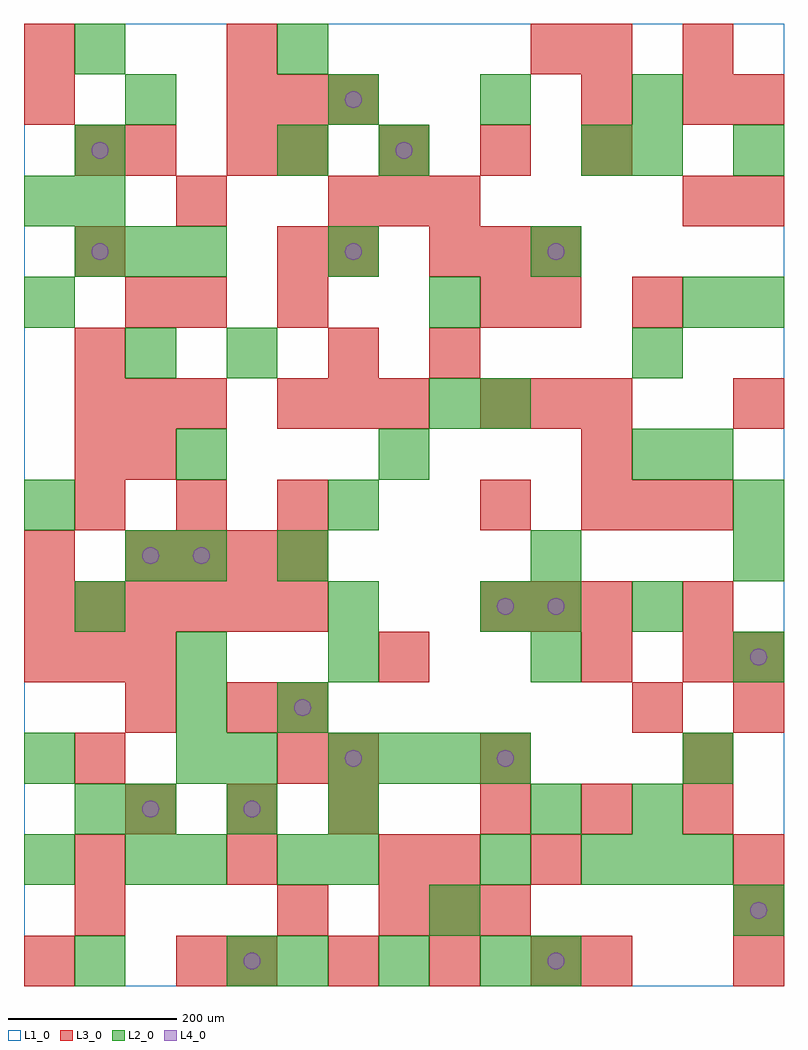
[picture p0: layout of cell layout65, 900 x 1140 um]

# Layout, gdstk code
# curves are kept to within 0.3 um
import gdstk
lib = gdstk.Library(unit=1e-6, precision=1e-09)
def R(c, l, rs):  # rectangles x0, y0, x1, y1
    for r in rs: c.add(gdstk.rectangle(r[:2], r[2:], *l))
def A(c, l, x, y, w, h, nx, ny, dx, dy):  # array of equal rectangles
    R(c, l, [(x+i*dx, y+j*dy, x+i*dx+w, y+j*dy+h) for i in range(nx) for j in range(ny)])
def P(c, l, *ps):  # polygons
    for p in ps: c.add(gdstk.Polygon(p, *l))
L1_0 = (1, 0)
L2_0 = (2, 0)
L3_0 = (3, 0)
L4_0 = (4, 0)

layout65 = lib.new_cell('layout65')
R(layout65, L1_0, [(0,0,900,1140)])
A(layout65, L2_0, 300, 0, 60, 60, 3, 1, 120, 0)
A(layout65, L2_0, 300, 120, 60, 60, 1, 3, 0, 180)
A(layout65, L2_0, 660, 120, 60, 60, 3, 1, 60, 0)
A(layout65, L2_0, 120, 180, 60, 60, 3, 1, 120, 0)
A(layout65, L2_0, 180, 240, 60, 60, 1, 3, 0, 60)
A(layout65, L2_0, 360, 240, 60, 60, 4, 1, 60, 0)
A(layout65, L2_0, 360, 360, 60, 60, 3, 1, 240, 0)
A(layout65, L2_0, 60, 840, 60, 60, 3, 1, 60, 0)
A(layout65, L2_0, 360, 1020, 60, 60, 3, 1, 180, 0)
R(layout65, L2_0, [(60,0,120,60), (240,0,300,60), (600,0,660,60), (480,60,540,120), (840,60,900,120), (0,120,60,180), (120,120,180,180), (180,120,240,180), (360,120,420,180), (540,120,600,180), (60,180,120,240), (600,180,660,240), (720,180,780,240), (0,240,60,300), (240,240,300,300), (780,240,840,300), (60,420,120,480), (360,420,420,480), (540,420,600,480), (600,420,660,480), (720,420,780,480), (120,480,180,540), (180,480,240,540), (600,480,660,540), (840,480,900,540), (0,540,60,600), (360,540,420,600), (840,540,900,600), (180,600,240,660), (420,600,480,660), (720,600,780,660), (780,600,840,660), (480,660,540,720), (540,660,600,720), (120,720,180,780), (240,720,300,780), (720,720,780,780), (0,780,60,840), (480,780,540,840), (780,780,840,840), (840,780,900,840), (360,840,420,900), (600,840,660,900), (0,900,60,960), (60,900,120,960), (60,960,120,1020), (300,960,360,1020), (420,960,480,1020), (660,960,720,1020), (720,960,780,1020), (840,960,900,1020), (120,1020,180,1080), (60,1080,120,1140), (300,1080,360,1140)])
A(layout65, L3_0, 240, 0, 60, 60, 4, 1, 120, 0)
A(layout65, L3_0, 840, 0, 60, 60, 1, 3, 0, 60)
A(layout65, L3_0, 420, 60, 60, 60, 3, 1, 60, 0)
A(layout65, L3_0, 60, 120, 60, 60, 3, 1, 180, 0)
A(layout65, L3_0, 120, 180, 60, 60, 3, 1, 120, 0)
A(layout65, L3_0, 540, 180, 60, 60, 3, 1, 120, 0)
A(layout65, L3_0, 0, 360, 60, 60, 3, 1, 60, 0)
A(layout65, L3_0, 0, 420, 60, 60, 6, 1, 60, 0)
A(layout65, L3_0, 540, 420, 60, 60, 3, 2, 60, 240)
A(layout65, L3_0, 120, 480, 60, 60, 4, 1, 60, 0)
A(layout65, L3_0, 60, 540, 60, 60, 3, 1, 120, 0)
A(layout65, L3_0, 660, 540, 60, 60, 3, 1, 60, 0)
A(layout65, L3_0, 60, 600, 60, 60, 1, 4, 0, 120)
A(layout65, L3_0, 120, 600, 60, 60, 1, 3, 0, 180)
A(layout65, L3_0, 60, 660, 60, 60, 3, 1, 60, 0)
A(layout65, L3_0, 300, 660, 60, 60, 3, 1, 60, 0)
A(layout65, L3_0, 480, 840, 60, 60, 3, 1, 60, 0)
A(layout65, L3_0, 360, 900, 60, 60, 3, 1, 60, 0)
A(layout65, L3_0, 300, 960, 60, 60, 4, 1, 120, 0)
A(layout65, L3_0, 240, 1020, 60, 60, 3, 1, 60, 0)
R(layout65, L3_0, [(0,0,60,60), (180,0,240,60), (660,0,720,60), (60,60,120,120), (300,60,360,120), (480,120,540,180), (600,120,660,180), (60,240,120,300), (300,240,360,300), (360,240,420,300), (540,240,600,300), (780,240,840,300), (120,300,180,360), (240,300,300,360), (300,300,360,360), (720,300,780,360), (840,300,900,360), (420,360,480,420), (660,360,720,420), (780,360,840,420), (840,360,900,420), (780,420,840,480), (0,480,60,540), (540,540,600,600), (660,600,720,660), (840,660,900,720), (360,720,420,780), (480,720,540,780), (180,780,240,840), (300,780,360,840), (540,780,600,840), (600,780,660,840), (720,780,780,840), (300,840,360,900), (360,840,420,900), (180,900,240,960), (780,900,840,960), (840,900,900,960), (240,960,300,1020), (0,1020,60,1080), (660,1020,720,1080), (780,1020,840,1080), (840,1020,900,1080), (0,1080,60,1140), (240,1080,300,1140), (600,1080,660,1140), (660,1080,720,1140), (780,1080,840,1140)])
P(layout65, L4_0, [(100,870),(99.239,873.827),(97.071,877.071),(93.827,879.239),(90,880),(86.173,879.239),(82.929,877.071),(80.761,873.827),(80,870),(80.761,866.173),(82.929,862.929),(86.173,860.761),(90,860),(93.827,860.761),(97.071,862.929),(99.239,866.173)],
  [(100,990),(99.239,993.827),(97.071,997.071),(93.827,999.239),(90,1000),(86.173,999.239),(82.929,997.071),(80.761,993.827),(80,990),(80.761,986.173),(82.929,982.929),(86.173,980.761),(90,980),(93.827,980.761),(97.071,982.929),(99.239,986.173)],
  [(160,210),(159.239,213.827),(157.071,217.071),(153.827,219.239),(150,220),(146.173,219.239),(142.929,217.071),(140.761,213.827),(140,210),(140.761,206.173),(142.929,202.929),(146.173,200.761),(150,200),(153.827,200.761),(157.071,202.929),(159.239,206.173)],
  [(160,510),(159.239,513.827),(157.071,517.071),(153.827,519.239),(150,520),(146.173,519.239),(142.929,517.071),(140.761,513.827),(140,510),(140.761,506.173),(142.929,502.929),(146.173,500.761),(150,500),(153.827,500.761),(157.071,502.929),(159.239,506.173)],
  [(220,510),(219.239,513.827),(217.071,517.071),(213.827,519.239),(210,520),(206.173,519.239),(202.929,517.071),(200.761,513.827),(200,510),(200.761,506.173),(202.929,502.929),(206.173,500.761),(210,500),(213.827,500.761),(217.071,502.929),(219.239,506.173)],
  [(280,30),(279.239,33.827),(277.071,37.071),(273.827,39.239),(270,40),(266.173,39.239),(262.929,37.071),(260.761,33.827),(260,30),(260.761,26.173),(262.929,22.929),(266.173,20.761),(270,20),(273.827,20.761),(277.071,22.929),(279.239,26.173)],
  [(280,210),(279.239,213.827),(277.071,217.071),(273.827,219.239),(270,220),(266.173,219.239),(262.929,217.071),(260.761,213.827),(260,210),(260.761,206.173),(262.929,202.929),(266.173,200.761),(270,200),(273.827,200.761),(277.071,202.929),(279.239,206.173)],
  [(340,330),(339.239,333.827),(337.071,337.071),(333.827,339.239),(330,340),(326.173,339.239),(322.929,337.071),(320.761,333.827),(320,330),(320.761,326.173),(322.929,322.929),(326.173,320.761),(330,320),(333.827,320.761),(337.071,322.929),(339.239,326.173)],
  [(400,270),(399.239,273.827),(397.071,277.071),(393.827,279.239),(390,280),(386.173,279.239),(382.929,277.071),(380.761,273.827),(380,270),(380.761,266.173),(382.929,262.929),(386.173,260.761),(390,260),(393.827,260.761),(397.071,262.929),(399.239,266.173)],
  [(400,870),(399.239,873.827),(397.071,877.071),(393.827,879.239),(390,880),(386.173,879.239),(382.929,877.071),(380.761,873.827),(380,870),(380.761,866.173),(382.929,862.929),(386.173,860.761),(390,860),(393.827,860.761),(397.071,862.929),(399.239,866.173)],
  [(400,1050),(399.239,1053.827),(397.071,1057.071),(393.827,1059.239),(390,1060),(386.173,1059.239),(382.929,1057.071),(380.761,1053.827),(380,1050),(380.761,1046.173),(382.929,1042.929),(386.173,1040.761),(390,1040),(393.827,1040.761),(397.071,1042.929),(399.239,1046.173)],
  [(460,990),(459.239,993.827),(457.071,997.071),(453.827,999.239),(450,1000),(446.173,999.239),(442.929,997.071),(440.761,993.827),(440,990),(440.761,986.173),(442.929,982.929),(446.173,980.761),(450,980),(453.827,980.761),(457.071,982.929),(459.239,986.173)],
  [(580,270),(579.239,273.827),(577.071,277.071),(573.827,279.239),(570,280),(566.173,279.239),(562.929,277.071),(560.761,273.827),(560,270),(560.761,266.173),(562.929,262.929),(566.173,260.761),(570,260),(573.827,260.761),(577.071,262.929),(579.239,266.173)],
  [(580,450),(579.239,453.827),(577.071,457.071),(573.827,459.239),(570,460),(566.173,459.239),(562.929,457.071),(560.761,453.827),(560,450),(560.761,446.173),(562.929,442.929),(566.173,440.761),(570,440),(573.827,440.761),(577.071,442.929),(579.239,446.173)],
  [(640,30),(639.239,33.827),(637.071,37.071),(633.827,39.239),(630,40),(626.173,39.239),(622.929,37.071),(620.761,33.827),(620,30),(620.761,26.173),(622.929,22.929),(626.173,20.761),(630,20),(633.827,20.761),(637.071,22.929),(639.239,26.173)],
  [(640,450),(639.239,453.827),(637.071,457.071),(633.827,459.239),(630,460),(626.173,459.239),(622.929,457.071),(620.761,453.827),(620,450),(620.761,446.173),(622.929,442.929),(626.173,440.761),(630,440),(633.827,440.761),(637.071,442.929),(639.239,446.173)],
  [(640,870),(639.239,873.827),(637.071,877.071),(633.827,879.239),(630,880),(626.173,879.239),(622.929,877.071),(620.761,873.827),(620,870),(620.761,866.173),(622.929,862.929),(626.173,860.761),(630,860),(633.827,860.761),(637.071,862.929),(639.239,866.173)],
  [(880,90),(879.239,93.827),(877.071,97.071),(873.827,99.239),(870,100),(866.173,99.239),(862.929,97.071),(860.761,93.827),(860,90),(860.761,86.173),(862.929,82.929),(866.173,80.761),(870,80),(873.827,80.761),(877.071,82.929),(879.239,86.173)],
  [(880,390),(879.239,393.827),(877.071,397.071),(873.827,399.239),(870,400),(866.173,399.239),(862.929,397.071),(860.761,393.827),(860,390),(860.761,386.173),(862.929,382.929),(866.173,380.761),(870,380),(873.827,380.761),(877.071,382.929),(879.239,386.173)])

lib.write_gds('layout65.gds')
